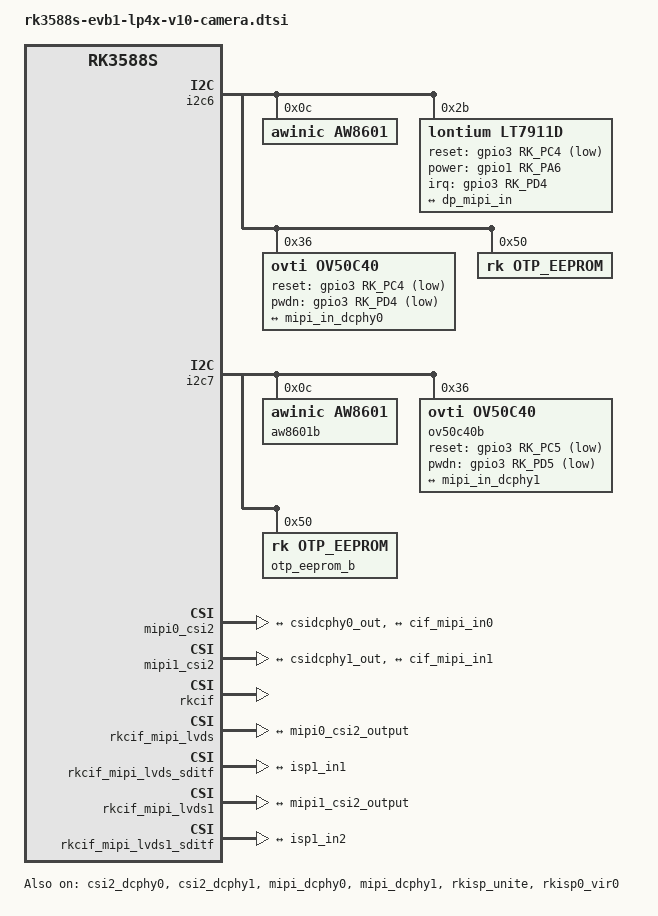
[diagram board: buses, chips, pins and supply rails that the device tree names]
// SPDX-License-Identifier: (GPL-2.0+ OR MIT)
/*
 * Copyright (c) 2021 Rockchip Electronics Co., Ltd.
 *
 */

&csi2_dcphy0 {
	status = "okay";

	ports {
		#address-cells = <1>;
		#size-cells = <0>;
		port@0 {
			reg = <0>;
			#address-cells = <1>;
			#size-cells = <0>;

			dp_mipi_in: endpoint@1 {
				reg = <1>;
				remote-endpoint = <&lt7911d_out>;
				data-lanes = <1 2 3 4>;
			};
			mipi_in_dcphy0: endpoint@2 {
				reg = <2>;
				remote-endpoint = <&ov50c40_out0>;
				data-lanes = <1 2 3 4>;
			};
		};

		port@1 {
			reg = <1>;
			#address-cells = <1>;
			#size-cells = <0>;

			csidcphy0_out: endpoint@0 {
				reg = <0>;
				remote-endpoint = <&mipi0_csi2_input>;
			};
		};
	};
};

&csi2_dcphy1 {
	status = "okay";

	ports {
		#address-cells = <1>;
		#size-cells = <0>;
		port@0 {
			reg = <0>;
			#address-cells = <1>;
			#size-cells = <0>;

			mipi_in_dcphy1: endpoint@1 {
				reg = <1>;
				remote-endpoint = <&ov50c40_out1>;
				data-lanes = <1 2 3 4>;
			};
		};
		port@1 {
			reg = <1>;
			#address-cells = <1>;
			#size-cells = <0>;

			csidcphy1_out: endpoint@0 {
				reg = <0>;
				remote-endpoint = <&mipi1_csi2_input>;
			};
		};
	};
};

&i2c6 {
	status = "okay";
	pinctrl-names = "default";
	pinctrl-0 = <&i2c6m4_xfer>;

	aw8601: aw8601@c {
		compatible = "awinic,aw8601";
		status = "okay";
		reg = <0x0c>;
		rockchip,vcm-start-current = <56>;
		rockchip,vcm-rated-current = <96>;
		rockchip,vcm-step-mode = <4>;
		rockchip,camera-module-index = <0>;
		rockchip,camera-module-facing = "back";
	};

	lt7911d: lt7911d@2b {
		compatible = "lontium,lt7911d";
		status = "okay";
		reg = <0x2b>;
		clocks = <&cru CLK_MIPI_CAMARAOUT_M1>;
		clock-names = "xvclk";
		interrupt-parent = <&gpio3>;
		interrupts = <RK_PD4 IRQ_TYPE_EDGE_RISING>;
		power-domains = <&power RK3588_PD_VI>;
		pinctrl-names = "default";
		pinctrl-0 = <&mipim1_camera1_clk>;
		reset-gpios = <&gpio3 RK_PC4 GPIO_ACTIVE_LOW>;
		power-gpios = <&gpio1 RK_PA6 GPIO_ACTIVE_HIGH>;
		// hpd-ctl-gpios = <&gpio3 RK_PC5 GPIO_ACTIVE_HIGH>;
		// plugin-det-gpios = <&gpio0 RK_PD6 GPIO_ACTIVE_LOW>;
		rockchip,camera-module-index = <0>;
		rockchip,camera-module-facing = "back";
		rockchip,camera-module-name = "LT7911D";
		rockchip,camera-module-lens-name = "NC";
		port {
			lt7911d_out: endpoint {
				remote-endpoint = <&dp_mipi_in>;
				data-lanes = <1 2 3 4>;
			};
		};
	};

	ov50c40: ov50c40@36 {
		compatible = "ovti,ov50c40";
		status = "okay";
		reg = <0x36>;
		clocks = <&cru CLK_MIPI_CAMARAOUT_M1>;
		clock-names = "xvclk";
		power-domains = <&power RK3588_PD_VI>;
		pinctrl-names = "default";
		pinctrl-0 = <&mipim1_camera1_clk>;
		rockchip,grf = <&sys_grf>;
		reset-gpios = <&gpio3 RK_PC4 GPIO_ACTIVE_LOW>;
		pwdn-gpios = <&gpio3 RK_PD4 GPIO_ACTIVE_LOW>;
		rockchip,camera-module-index = <0>;
		rockchip,camera-module-facing = "back";
		rockchip,camera-module-name = "HZGA06";
		rockchip,camera-module-lens-name = "ZE0082C1";
		eeprom-ctrl = <&otp_eeprom>;
		lens-focus = <&aw8601>;
		port {
			ov50c40_out0: endpoint {
				remote-endpoint = <&mipi_in_dcphy0>;
				data-lanes = <1 2 3 4>;
			};
		};
	};

	otp_eeprom: otp_eeprom@50 {
		compatible = "rk,otp_eeprom";
		status = "okay";
		reg = <0x50>;
	};
};

&i2c7 {
	status = "okay";
	pinctrl-names = "default";
	pinctrl-0 = <&i2c7m2_xfer>;

	aw8601b: aw8601b@c {
		compatible = "awinic,aw8601";
		status = "okay";
		reg = <0x0c>;
		rockchip,vcm-start-current = <56>;
		rockchip,vcm-rated-current = <96>;
		rockchip,vcm-step-mode = <4>;
		rockchip,camera-module-index = <1>;
		rockchip,camera-module-facing = "back";
	};

	ov50c40b: ov50c40b@36 {
		compatible = "ovti,ov50c40";
		status = "okay";
		reg = <0x36>;
		clocks = <&cru CLK_MIPI_CAMARAOUT_M2>;
		clock-names = "xvclk";
		power-domains = <&power RK3588_PD_VI>;
		pinctrl-names = "default";
		pinctrl-0 = <&mipim1_camera2_clk>;
		rockchip,grf = <&sys_grf>;
		reset-gpios = <&gpio3 RK_PC5 GPIO_ACTIVE_LOW>;
		pwdn-gpios = <&gpio3 RK_PD5 GPIO_ACTIVE_LOW>;
		rockchip,camera-module-index = <1>;
		rockchip,camera-module-facing = "back";
		rockchip,camera-module-name = "HZGA06";
		rockchip,camera-module-lens-name = "ZE0082C1";
		eeprom-ctrl = <&otp_eeprom_b>;
		lens-focus = <&aw8601b>;
		port {
			ov50c40_out1: endpoint {
				remote-endpoint = <&mipi_in_dcphy1>;
				data-lanes = <1 2 3 4>;
			};
		};
	};

	otp_eeprom_b: otp_eeprom_b@50 {
		compatible = "rk,otp_eeprom";
		status = "okay";
		reg = <0x50>;
	};
};

&mipi_dcphy0 {
	status = "okay";
};

&mipi_dcphy1 {
	status = "okay";
};

&mipi0_csi2 {
	status = "okay";

	ports {
		#address-cells = <1>;
		#size-cells = <0>;

		port@0 {
			reg = <0>;
			#address-cells = <1>;
			#size-cells = <0>;

			mipi0_csi2_input: endpoint@1 {
				reg = <1>;
				remote-endpoint = <&csidcphy0_out>;
			};
		};

		port@1 {
			reg = <1>;
			#address-cells = <1>;
			#size-cells = <0>;

			mipi0_csi2_output: endpoint@0 {
				reg = <0>;
				remote-endpoint = <&cif_mipi_in0>;
			};
		};
	};
};

&mipi1_csi2 {
	status = "okay";

	ports {
		#address-cells = <1>;
		#size-cells = <0>;

		port@0 {
			reg = <0>;
			#address-cells = <1>;
			#size-cells = <0>;

			mipi1_csi2_input: endpoint@1 {
				reg = <1>;
				remote-endpoint = <&csidcphy1_out>;
			};
		};

		port@1 {
			reg = <1>;
			#address-cells = <1>;
			#size-cells = <0>;

			mipi1_csi2_output: endpoint@0 {
				reg = <0>;
				remote-endpoint = <&cif_mipi_in1>;
			};
		};
	};
};

&rkcif {
	status = "okay";
};

&rkcif_mipi_lvds {
	status = "okay";

	port {
		cif_mipi_in0: endpoint {
			remote-endpoint = <&mipi0_csi2_output>;
		};
	};
};

&rkcif_mipi_lvds_sditf {
	status = "okay";

	port {
		mipi_lvds_sditf: endpoint {
			remote-endpoint = <&isp1_in1>;
		};
	};
};

&rkcif_mipi_lvds1 {
	status = "okay";

	port {
		cif_mipi_in1: endpoint {
			remote-endpoint = <&mipi1_csi2_output>;
		};
	};
};

&rkcif_mipi_lvds1_sditf {
	status = "okay";

	port {
		mipi1_lvds_sditf: endpoint {
			remote-endpoint = <&isp1_in2>;
		};
	};
};

&rkcif_mmu {
	status = "okay";
};

&rkisp_unite {
	status = "okay";

};

&rkisp_unite_mmu {
	status = "okay";
};

&rkisp0_vir0 {
	status = "okay";
	/*
	 * dual isp process image case
	 * other rkisp hw and virtual nodes should disabled
	 */
	rockchip,hw = <&rkisp_unite>;
	port {
		#address-cells = <1>;
		#size-cells = <0>;

		isp1_in1: endpoint@0 {
			reg = <0>;
			remote-endpoint = <&mipi_lvds_sditf>;
		};
		isp1_in2: endpoint@1 {
			reg = <1>;
			remote-endpoint = <&mipi1_lvds_sditf>;
		};
	};
};
